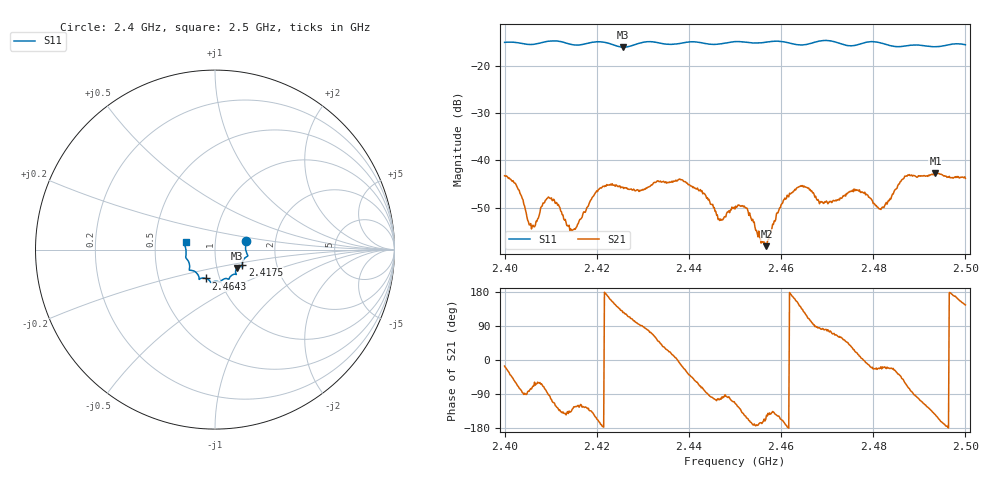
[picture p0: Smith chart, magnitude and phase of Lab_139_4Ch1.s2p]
# Hz S RI R 50
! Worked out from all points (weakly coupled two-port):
!   601 points, 2.4 GHz to 2.5 GHz, reference 50 ohm
!   highest |S21| = -42.72 dB at 2.4935 GHz (marker M1); lowest = -58.2 dB at 2.4568 GHz (marker M2)
!   lowest |S11| = -15.9 dB at 2.4257 GHz (marker M3), VSWR 1.38, Z = 62.5 - j13.1 ohm
!   |S11| at or under -10 dB: start of sweep to end of sweep
!   S12 and S22 are empty: the file has one direction only
!   S11 on the Smith chart (normalised r, x): 2.4 GHz: 1.41, +0.14; 2.4175 GHz: 1.34, -0.23; 2.4643 GHz: 0.86, -0.29; 2.5 GHz: 0.72, +0.06
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2.4e9  0.1728 0.0487  0.00661 -0.0019  0 0  0 0
2.402667e9  0.1748 0.0365  0.00224 -0.00478  0 0  0 0
2.405833e9  0.1704 0.0039  0.00044 -0.00182  0 0  0 0
2.409667e9  0.1823 -0.0317  -0.000235 -0.00402  0 0  0 0
2.414667e9  0.1617 -0.0522  -0.00116 -0.00139  0 0  0 0
2.416667e9  0.1528 -0.074  -0.00119 -0.00212  0 0  0 0
2.4175e9  0.1519 -0.0833  -0.00157 -0.00234  0 0  0 0
2.420833e9  0.1539 -0.0973  -0.00505 -0.000893  0 0  0 0
2.425667e9  0.1229 -0.102  -0.003 0.00426  0 0  0 0
2.433333e9  0.1132 -0.1372  0.00395 0.00461  0 0  0 0
2.442333e9  0.073 -0.1639  0.00176 -0.00446  0 0  0 0
2.446833e9  0.0418 -0.1679  -0.000462 -0.00234  0 0  0 0
2.45e9  0.0287 -0.1807  -0.00124 -0.00279  0 0  0 0
2.452333e9  0.0211 -0.1792  -0.00266 -0.00163  0 0  0 0
2.456833e9  -0.0124 -0.1801  -0.00102 -0.000692  0 0  0 0
2.460333e9  -0.0249 -0.1813  -0.00329 -0.00124  0 0  0 0
2.464333e9  -0.0499 -0.161  -0.00402 0.00361  0 0  0 0
2.466667e9  -0.0759 -0.1593  -0.000712 0.00468  0 0  0 0
2.483333e9  -0.1413 -0.0903  0.00352 -0.00134  0 0  0 0
2.487333e9  -0.1568 -0.0533  0.00252 -0.00632  0 0  0 0
2.4935e9  -0.1611 -0.00843  -0.00597 -0.00423  0 0  0 0
2.5e9  -0.164 0.043  -0.00531 0.00368  0 0  0 0
